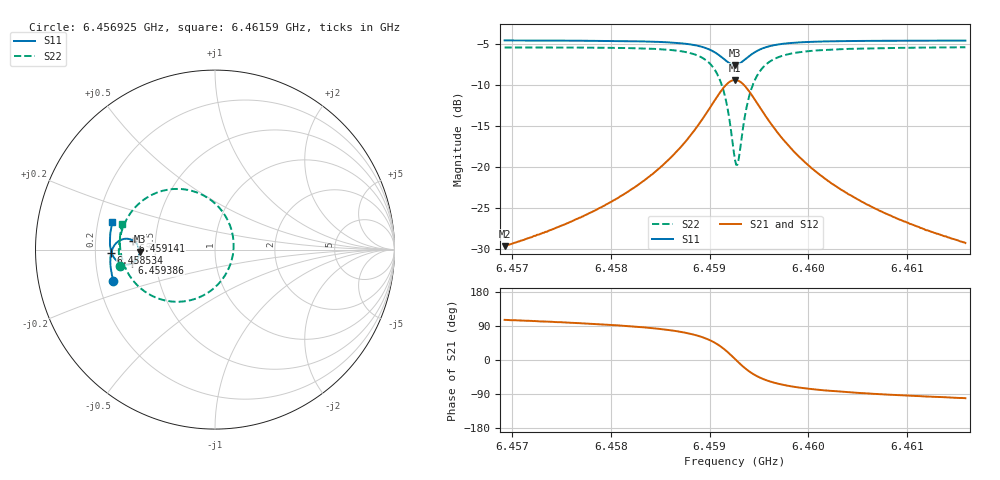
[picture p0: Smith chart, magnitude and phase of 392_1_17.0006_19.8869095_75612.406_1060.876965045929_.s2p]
#  HZ  S  RI  R  50.00
! Rohde & Schwarz Vector Network Analyzer
! Rohde-Schwarz,ZNB20-2Port,1311601062101988,3.16
! Created: UTC 3/20/2024, 11:09:41 PM
! freq[Hz]  re:S11  im:S11  re:S21  im:S21  re:S12  im:S12  re:S22  im:S22
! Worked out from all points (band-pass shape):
!   401 points, 6.456925 GHz to 6.46159 GHz, reference 50 ohm
!   highest |S21| = -9.36 dB at 6.459257 GHz (marker M1); lowest = -29.6 dB at 6.456925 GHz (marker M2)
!   |S21| within 3 dB of the highest: 6.459025 GHz to 6.459491 GHz (466.2 kHz wide, 0.00722 % of centre)
!   lowest |S11| = -7.5 dB at 6.459257 GHz (marker M3), VSWR 2.45, Z = 20.4 - j0.566 ohm
!   |S11| at or under -10 dB: nowhere
!   |S22| runs from -19.7 to -5.4 dB; largest |S21 - S12| = 0.013
!   S11 on the Smith chart (normalised r, x): 6.456925 GHz: 0.26, -0.14; 6.458534 GHz: 0.27, -0.01; 6.459141 GHz: 0.37, +0.05; 6.459386 GHz: 0.36, -0.07; 6.46159 GHz: 0.26, +0.12
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6.4569251e9  -0.5655 -0.1762  -0.00905 0.0318  -0.00739 0.0318  -0.5292 -0.0892
6.4577064e9  -0.58 -0.1082  -0.00598 0.0495  -0.00341 0.0489  -0.5357 0.000789
6.4581495e9  -0.5834 -0.0641  9.02e-05 0.0694  0.00334 0.0681  -0.5278 0.0703
6.4584877e9  -0.5798 -0.0239  0.0133 0.0971  0.0173 0.0946  -0.5039 0.1455
6.4585344e9  -0.5786 -0.0175  0.0167 0.1026  0.0207 0.0997  -0.4978 0.1585
6.4587443e9  -0.5665 0.0143  0.0422 0.134  0.0463 0.1293  -0.45 0.2298
6.4588959e9  -0.5456 0.0405  0.0842 0.164  0.0875 0.1577  -0.3728 0.2937
6.4590475e9  -0.5001 0.0603  0.1746 0.1832  0.1757 0.1759  -0.2076 0.338
6.4591408e9  -0.456 0.0505  0.2634 0.1529  0.2637 0.1469  -0.0435 0.29
6.4591874e9  -0.4352 0.032  0.3066 0.1109  0.3079 0.1056  0.0386 0.2154
6.4592574e9  -0.4204 -0.0114  0.3399 0.0156  0.3433 0.00884  0.1035 0.0391
6.4592807e9  -0.4222 -0.027  0.338 -0.0192  0.3417 -0.0275  0.0999 -0.0267
6.4592923e9  -0.4244 -0.0346  0.3345 -0.0362  0.3381 -0.045  0.093 -0.0588
6.459339e9  -0.4396 -0.0603  0.3066 -0.0954  0.3087 -0.1069  0.037 -0.1704
6.4593856e9  -0.4614 -0.0762  0.2652 -0.1359  0.2645 -0.1488  -0.0461 -0.2443
6.4594789e9  -0.504 -0.0828  0.1819 -0.1669  0.176 -0.1782  -0.2118 -0.2907
6.4596305e9  -0.5474 -0.0624  0.0953 -0.1538  0.087 -0.1597  -0.3769 -0.2429
6.4597938e9  -0.5686 -0.0349  0.051 -0.1265  0.0436 -0.1292  -0.4565 -0.1725
6.4600387e9  -0.5811 0.000749  0.0222 -0.0954  0.0166 -0.0962  -0.5041 -0.0912
6.4604118e9  -0.5857 0.0443  0.00571 -0.068  0.0019 -0.0674  -0.5262 -0.00857
6.46082e9  -0.5836 0.0849  -0.00141 -0.051  -0.00413 -0.0502  -0.5297 0.0551
6.4615896e9  -0.5711 0.1528  -0.00647 -0.0339  -0.00811 -0.0331  -0.5185 0.1447
